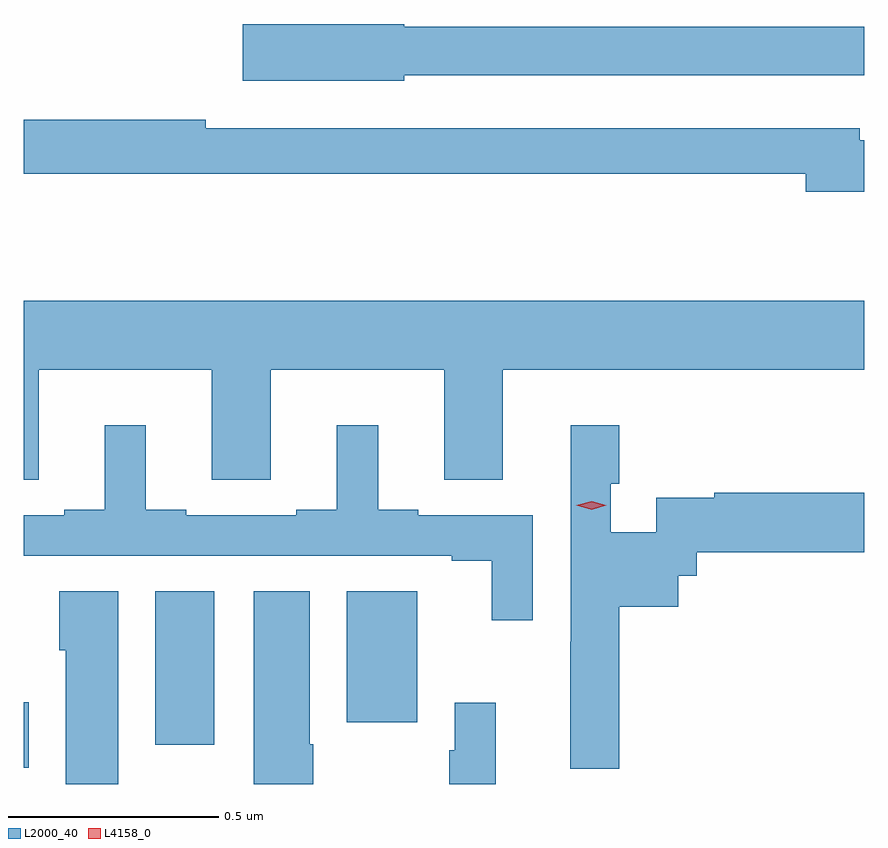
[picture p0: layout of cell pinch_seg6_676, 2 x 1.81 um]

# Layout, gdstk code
import gdstk
lib = gdstk.Library(unit=1e-6, precision=1e-09)
def R(c, l, rs):  # rectangles x0, y0, x1, y1
    for r in rs: c.add(gdstk.rectangle(r[:2], r[2:], *l))
def P(c, l, *ps):  # polygons
    for p in ps: c.add(gdstk.Polygon(p, *l))
L2000_40 = (2000, 40)
L4158_0 = (4158, 0)

pinch_seg6_676 = lib.new_cell('pinch_seg6_676')
R(pinch_seg6_676, L2000_40, [(480.277,925.077,480.289,925.233), (480.59,925.131,480.73,925.496), (481.046,925.185,481.213,925.496)])
P(pinch_seg6_676, L2000_40, [(481.182,926.724),(482.277,926.724),(482.277,926.84),(481.182,926.84),(481.182,926.846),(480.798,926.846),(480.798,926.711),(481.182,926.711)],
  [(482.277,926.569),(482.266,926.569),(482.266,926.598),(480.71,926.598),(480.71,926.618),(480.277,926.618),(480.277,926.49),(482.138,926.49),(482.138,926.447),(482.277,926.447)],
  [(480.313,926.024),(480.725,926.024),(480.725,925.762),(480.865,925.762),(480.865,926.024),(481.277,926.024),(481.277,925.762),(481.417,925.762),(481.417,926.024),(482.277,926.024),(482.277,926.188),(480.277,926.188),(480.277,925.762),(480.313,925.762)],
  [(481.488,925.677),(481.216,925.677),(481.216,925.69),(481.12,925.69),(481.12,925.891),(481.022,925.891),(481.022,925.69),(480.926,925.69),(480.926,925.677),(480.664,925.677),(480.664,925.69),(480.568,925.69),(480.568,925.891),(480.47,925.891),(480.47,925.69),(480.374,925.69),(480.374,925.677),(480.277,925.677),(480.277,925.581),(481.295,925.581),(481.295,925.569),(481.391,925.569),(481.391,925.428),(481.488,925.428)],
  [(481.694,925.46),(481.834,925.46),(481.834,925.533),(481.878,925.533),(481.878,925.589),(482.277,925.589),(482.277,925.731),(481.92,925.731),(481.92,925.719),(481.782,925.719),(481.782,925.637),(481.674,925.637),(481.674,925.752),(481.694,925.752),(481.694,925.891),(481.578,925.891),(481.578,925.376),(481.577,925.376),(481.577,925.074),(481.694,925.074)],
  [(480.502,925.496),(480.362,925.496),(480.362,925.356),(480.377,925.356),(480.377,925.038),(480.502,925.038)],
  [(480.966,925.132),(480.958,925.132),(480.958,925.496),(480.824,925.496),(480.824,925.038),(480.966,925.038)],
  [(481.4,925.231),(481.302,925.231),(481.302,925.118),(481.29,925.118),(481.29,925.038),(481.4,925.038)])
P(pinch_seg6_676, L4158_0, [(481.628,925.691),(481.592,925.701),(481.592,925.701),(481.592,925.701),(481.628,925.711),(481.663,925.701),(481.663,925.701),(481.663,925.701)])

lib.write_gds('pinch_seg6_676.gds')
